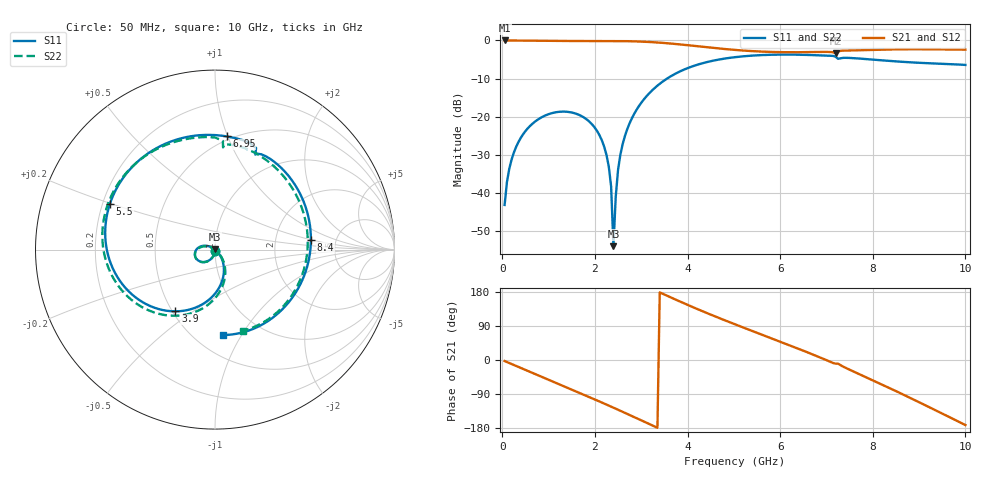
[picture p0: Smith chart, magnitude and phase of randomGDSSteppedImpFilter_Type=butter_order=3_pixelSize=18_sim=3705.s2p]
! freq	dB(S11)	phase(S11)	dB(S12)	phase(S12)
!  dB(S21)	phase(S21)	dB(S22)	phase(S22)
!S-par simulation data
#  GHz  S  DB  R 50
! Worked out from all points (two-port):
!   200 points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, 50 MHz to 10 GHz, reference 50 ohm
!   highest |S21| = 0.00 dB at 50 MHz (marker M1); lowest = -3.3 dB at 7.2 GHz (marker M2)
!   |S21| within 3 dB of the highest: start of sweep to 5.793 GHz; 7.251 GHz to end of sweep (the widest 2 of 3)
!   lowest |S11| = -53.9 dB at 2.4 GHz (marker M3), VSWR 1.00, Z = 49.9 + j0.196 ohm
!   |S11| at or under -10 dB: start of sweep to 3.557 GHz
!   |S22| runs from -53.9 to -3.7 dB; largest |S21 - S12| = 0
!   S11 on the Smith chart (normalised r, x): 50 MHz: 1.00, -0.01; 3.9 GHz: 0.52, -0.43; 5.5 GHz: 0.23, +0.20; 6.95 GHz: 0.47, +0.99; 8.4 GHz: 3.24, +0.50; 10 GHz: 0.68, -0.83
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0.05  -43.09 -91.9  -0.00 -2.7  -0.00 -2.7  -43.10 -90.2
0.2  -31.24 -100.5  -0.02 -10.5  -0.02 -10.5  -31.23 -100.3
0.55  -23.03 -119.8  -0.06 -28.8  -0.06 -28.8  -23.04 -119.0
1.15  -18.83 -151.5  -0.13 -59.9  -0.13 -59.9  -18.83 -149.9
1.75  -20.08 176.7  -0.14 -91.0  -0.14 -91.0  -20.10 179.5
2.25  -29.99 149.1  -0.14 -117.6  -0.14 -117.6  -30.06 154.2
2.35  -38.24 142.3  -0.14 -123.0  -0.14 -123.0  -38.42 151.2
2.4  -53.89 104.3  -0.15 -125.8  -0.15 -125.8  -53.95 -167.2
2.45  -40.89 -38.2  -0.15 -128.5  -0.15 -128.5  -40.60 -42.6
2.5  -33.85 -42.6  -0.16 -131.3  -0.16 -131.3  -33.72 -42.7
2.65  -24.95 -51.9  -0.18 -139.6  -0.18 -139.6  -24.90 -49.5
3.4  -11.35 -94.8  -0.58 178.3  -0.58 178.3  -11.33 -90.1
3.9  -7.77 -122.7  -1.12 150.9  -1.12 150.9  -7.75 -116.7
5.05  -4.35 178.3  -2.50 93.0  -2.50 93.0  -4.33 -172.4
5.5  -3.90 156.5  -2.86 71.9  -2.86 71.9  -3.89 167.4
6.7  -3.84 97.4  -3.04 14.8  -3.04 14.8  -3.84 113.3
6.95  -3.96 84.2  -3.00 2.1  -3.00 2.1  -3.96 101.1
7.2  -4.29 68.0  -3.30 -9.6  -3.30 -9.6  -4.34 85.9
8.35  -5.35 8.6  -2.37 -73.3  -2.37 -73.3  -5.36 28.9
8.4  -5.40 5.8  -2.36 -76.2  -2.36 -76.2  -5.40 26.1
9.15  -5.94 -36.0  -2.31 -120.3  -2.31 -120.3  -5.94 -18.1
10  -6.41 -84.7  -2.41 -171.7  -2.41 -171.7  -6.41 -70.9
